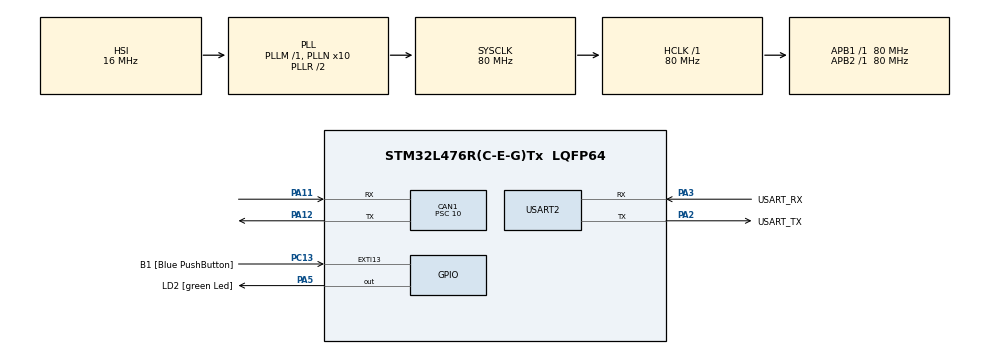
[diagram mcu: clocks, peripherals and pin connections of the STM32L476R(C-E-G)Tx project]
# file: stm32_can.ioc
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CAN1.ABOM=ENABLE
CAN1.BS1=CAN_BS1_13TQ
CAN1.BS2=CAN_BS2_2TQ
CAN1.CalculateBaudRate=500000
CAN1.CalculateTimeBit=2000
CAN1.CalculateTimeQuantum=125.0
CAN1.NART=ENABLE
CAN1.Prescaler=10
Mcu.Family=STM32L4
Mcu.Name=STM32L476R(C-E-G)Tx
Mcu.Package=LQFP64
NVIC.CAN1_RX0_IRQn=true\:0\:0\:false\:false\:true\:true\:true\:true
NVIC.CAN1_SCE_IRQn=true\:0\:0\:false\:false\:true\:true\:true\:true
NVIC.PriorityGroup=NVIC_PRIORITYGROUP_4
PA11.Mode=CAN_Activate
PA11.Signal=CAN1_RX
PA12.Mode=CAN_Activate
PA12.Signal=CAN1_TX
PA13\ (JTMS-SWDIO).GPIO_Label=TMS
PA13\ (JTMS-SWDIO).Mode=Serial_Wire
PA13\ (JTMS-SWDIO).Signal=SYS_JTMS-SWDIO
PA14\ (JTCK-SWCLK).GPIO_Label=TCK
PA14\ (JTCK-SWCLK).Mode=Serial_Wire
PA14\ (JTCK-SWCLK).Signal=SYS_JTCK-SWCLK
PA2.GPIO_Label=USART_TX
PA2.GPIO_Mode=GPIO_MODE_AF_PP
PA2.GPIO_PuPd=GPIO_NOPULL
PA2.GPIO_Speed=GPIO_SPEED_FREQ_VERY_HIGH
PA2.Mode=Asynchronous
PA2.Signal=USART2_TX
PA3.GPIO_Label=USART_RX
PA3.GPIO_Mode=GPIO_MODE_AF_PP
PA3.GPIO_PuPd=GPIO_NOPULL
PA3.GPIO_Speed=GPIO_SPEED_FREQ_VERY_HIGH
PA3.Mode=Asynchronous
PA3.Signal=USART2_RX
PA5.GPIO_Label=LD2 [green Led]
PA5.GPIO_ModeDefaultOutputPP=GPIO_MODE_OUTPUT_PP
PA5.GPIO_PuPd=GPIO_NOPULL
PA5.GPIO_Speed=GPIO_SPEED_FREQ_LOW
PA5.Signal=GPIO_Output
PB3\ (JTDO-TRACESWO).GPIO_Label=SWO
PB3\ (JTDO-TRACESWO).Signal=SYS_JTDO-SWO
PC13.GPIO_Label=B1 [Blue PushButton]
PC13.GPIO_ModeDefaultEXTI=GPIO_MODE_IT_FALLING
PC13.GPIO_PuPd=GPIO_NOPULL
PC13.Signal=GPXTI13
PC14-OSC32_IN\ (PC14).Mode=LSE-External-Oscillator
PC14-OSC32_IN\ (PC14).Signal=RCC_OSC32_IN
PC15-OSC32_OUT\ (PC15).Mode=LSE-External-Oscillator
PC15-OSC32_OUT\ (PC15).Signal=RCC_OSC32_OUT
PH0-OSC_IN\ (PH0).Signal=RCC_OSC_IN
PH1-OSC_OUT\ (PH1).Signal=RCC_OSC_OUT
ProjectManager.HeapSize=0x200
ProjectManager.StackSize=0x400
ProjectManager.TargetToolchain=STM32CubeIDE
RCC.ADCFreq_Value=64000000
RCC.AHBFreq_Value=80000000
RCC.APB1Freq_Value=80000000
RCC.APB1TimFreq_Value=80000000
RCC.APB2Freq_Value=80000000
RCC.APB2TimFreq_Value=80000000
RCC.CortexFreq_Value=80000000
RCC.HCLKFreq_Value=80000000
RCC.HSE_VALUE=8000000
RCC.HSI_VALUE=16000000
RCC.MSI_VALUE=4000000
RCC.PLLN=10
RCC.PLLSourceVirtual=RCC_PLLSOURCE_HSI
RCC.PREFETCH_ENABLE=1
RCC.SYSCLKFreq_VALUE=80000000
RCC.SYSCLKSource=RCC_SYSCLKSOURCE_PLLCLK
RCC.USBFreq_Value=64000000
RCC.VCOOutputFreq_Value=160000000
USART2.VirtualMode-Asynchronous=VM_ASYNC
board=NUCLEO-L476RG

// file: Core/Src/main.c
/* USER CODE BEGIN Header */
/**
  ******************************************************************************
  * @file           : main.c
  * @brief          : Main program body
  ******************************************************************************
  * @attention
  *
  * Copyright (c) 2026 STMicroelectronics.
  * All rights reserved.
  *
  * This software is licensed under terms that can be found in the LICENSE file
  * in the root directory of this software component.
  * If no LICENSE file comes with this software, it is provided AS-IS.
  *
  ******************************************************************************
  */
/* USER CODE END Header */
#include "main.h"
#include <stdio.h>
#include <string.h>

/* USER CODE BEGIN Includes */
extern CAN_HandleTypeDef hcan1;
extern UART_HandleTypeDef huart2;
/* USER CODE END Includes */

CAN_HandleTypeDef hcan1;

UART_HandleTypeDef huart2;

/* USER CODE BEGIN PV */
#define ID_CMD 0x100U   /* consigne de position, recue du RPi5 */
#define ID_ACK 0x200U   /* accuse "position atteinte", envoye au RPi5 */

static volatile uint8_t nouvelleCommandeRecue = 0;
static uint8_t rxDataBuffer[8];

/* Machine a etats pour l'attente de 5s NON bloquante */
typedef enum {
    ETAT_ATTENTE_COMMANDE = 0,
    ETAT_TEMPORISATION,
    ETAT_ENVOI_ACK
} EtatRobot_t;

static EtatRobot_t etat = ETAT_ATTENTE_COMMANDE;
static uint32_t horodatageDebutAttente = 0;
#define DUREE_ATTENTE_MS 5000U
/* USER CODE END PV */
/* USER CODE END PV */

void SystemClock_Config(void);
static void MX_GPIO_Init(void);
static void MX_USART2_UART_Init(void);
static void MX_CAN1_Init(void);
/* USER CODE BEGIN PFP */

static void Traiter_Trame_Commande(uint8_t *data);

static void Envoyer_Trame_Ack(void);

/* Redirection de printf vers UART2 (retarget syscalls) */
int __io_putchar(int ch)
{
    HAL_UART_Transmit(&huart2, (uint8_t *)&ch, 1, HAL_MAX_DELAY);
    return ch;
}

/* USER CODE END PFP */

/* USER CODE BEGIN 0 */

/**
 * Callback HAL appele automatiquement des qu'une trame CAN
 * matchant le filtre est deposee dans le FIFO0 par le materiel.
 */
void HAL_CAN_RxFifo0MsgPendingCallback(CAN_HandleTypeDef *hcan)
{
    CAN_RxHeaderTypeDef rxHeader;
    uint8_t data[8];

    if (HAL_CAN_GetRxMessage(hcan, CAN_RX_FIFO0, &rxHeader, data) != HAL_OK)
    {
        return;
    }

    if (rxHeader.StdId == ID_CMD)
    {
        memcpy(rxDataBuffer, data, sizeof(rxDataBuffer));
        nouvelleCommandeRecue = 1;
    }
}

static void Traiter_Trame_Commande(uint8_t *data)
{
    int16_t x_mm, y_mm, theta_mdeg;

    memcpy(&x_mm,       &data[0], 2);
    memcpy(&y_mm,       &data[2], 2);
    memcpy(&theta_mdeg, &data[4], 2);

    printf("Position recue : x=%.3f m, y=%.3f m, theta=%.2f deg\r\n",
           x_mm / 1000.0f, y_mm / 1000.0f, theta_mdeg / 100.0f);
    printf("Deplacement en cours... attente de 5s\r\n");
}

static void Envoyer_Trame_Ack(void)
{
    CAN_TxHeaderTypeDef txHeader;
    uint8_t txData[1] = {0x01};
    uint32_t txMailbox;

    txHeader.StdId = ID_ACK;
    txHeader.ExtId = 0;
    txHeader.IDE   = CAN_ID_STD;
    txHeader.RTR   = CAN_RTR_DATA;
    txHeader.DLC   = 1;
    txHeader.TransmitGlobalTime = DISABLE;

    /* On attend qu'une mailbox de transmission soit libre */
    while (HAL_CAN_GetTxMailboxesFreeLevel(&hcan1) == 0)
    {
        /* attente courte, non bloquante dans l'absolu mais bornee */
    }

    if (HAL_CAN_AddTxMessage(&hcan1, &txHeader, txData, &txMailbox) == HAL_OK)
    {
        printf("Message envoye au RPi5 : \"la position est atteinte\"\r\n");
        HAL_GPIO_WritePin(LD2_GPIO_Port, LD2_Pin, GPIO_PIN_SET);

    }
    else
    {
        printf("Erreur : echec envoi trame CAN ACK\r\n");
    }
}

static void Configurer_Filtre_CAN(void)
{
    CAN_FilterTypeDef sFilterConfig = {0};

    sFilterConfig.FilterBank = 0;
    sFilterConfig.FilterMode = CAN_FILTERMODE_IDMASK;
    sFilterConfig.FilterScale = CAN_FILTERSCALE_32BIT;
    /* On ne veut recevoir QUE l'ID 0x100 : mask = tous les bits actifs */
    sFilterConfig.FilterIdHigh = (ID_CMD << 5);
    sFilterConfig.FilterIdLow = 0x0000;
    sFilterConfig.FilterMaskIdHigh = (0x7FF << 5);
    sFilterConfig.FilterMaskIdLow = 0x0000;
    sFilterConfig.FilterFIFOAssignment = CAN_RX_FIFO0;
    sFilterConfig.FilterActivation = ENABLE;
    sFilterConfig.SlaveStartFilterBank = 14;

    if (HAL_CAN_ConfigFilter(&hcan1, &sFilterConfig) != HAL_OK)
    {
        Error_Handler();
    }
}

/* USER CODE END 0 */

int main(void)
{
    HAL_Init();
    SystemClock_Config();

    MX_GPIO_Init();
    MX_CAN1_Init();
    MX_USART2_UART_Init();

    /* USER CODE BEGIN 2 */
    Configurer_Filtre_CAN();

    if (HAL_CAN_ActivateNotification(&hcan1, CAN_IT_RX_FIFO0_MSG_PENDING) != HAL_OK)
    {
        Error_Handler();
    }

    if (HAL_CAN_Start(&hcan1) != HAL_OK)
    {
        Error_Handler();
    }

    printf("\r\n=== STM32 pret. En attente de commandes CAN (ID 0x%03X) ===\r\n", ID_CMD);
    /* USER CODE END 2 */

    while (1)
    {
        /* USER CODE BEGIN WHILE */
        switch (etat)
        {
        case ETAT_ATTENTE_COMMANDE:
            if (nouvelleCommandeRecue)
            {
                nouvelleCommandeRecue = 0;
                Traiter_Trame_Commande(rxDataBuffer);
                horodatageDebutAttente = HAL_GetTick();
                etat = ETAT_TEMPORISATION;
            }
            break;

        case ETAT_TEMPORISATION:
            HAL_GPIO_WritePin(LD2_GPIO_Port, LD2_Pin, 0);

            /* Attente non bloquante de 5s : le CPU reste libre de traiter
             * d'autres interruptions (ex: une nouvelle commande CAN, un
             * bouton, etc.) pendant ce temps. */
            if ((HAL_GetTick() - horodatageDebutAttente) >= DUREE_ATTENTE_MS)
            {
                etat = ETAT_ENVOI_ACK;
            }
            break;

        case ETAT_ENVOI_ACK:

            Envoyer_Trame_Ack();
            etat = ETAT_ATTENTE_COMMANDE;
            break;
        }
        /* USER CODE END WHILE */
    }
}

void SystemClock_Config(void)
{
  RCC_OscInitTypeDef RCC_OscInitStruct = {0};
  RCC_ClkInitTypeDef RCC_ClkInitStruct = {0};

  /** Configure the main internal regulator output voltage
  */
  if (HAL_PWREx_ControlVoltageScaling(PWR_REGULATOR_VOLTAGE_SCALE1) != HAL_OK)
  {
    Error_Handler();
  }

  /** Initializes the RCC Oscillators according to the specified parameters
  * in the RCC_OscInitTypeDef structure.
  */
  RCC_OscInitStruct.OscillatorType = RCC_OSCILLATORTYPE_HSI;
  RCC_OscInitStruct.HSIState = RCC_HSI_ON;
  RCC_OscInitStruct.HSICalibrationValue = RCC_HSICALIBRATION_DEFAULT;
  RCC_OscInitStruct.PLL.PLLState = RCC_PLL_ON;
  RCC_OscInitStruct.PLL.PLLSource = RCC_PLLSOURCE_HSI;
  RCC_OscInitStruct.PLL.PLLM = 1;
  RCC_OscInitStruct.PLL.PLLN = 10;
  RCC_OscInitStruct.PLL.PLLP = RCC_PLLP_DIV7;
  RCC_OscInitStruct.PLL.PLLQ = RCC_PLLQ_DIV2;
  RCC_OscInitStruct.PLL.PLLR = RCC_PLLR_DIV2;
  if (HAL_RCC_OscConfig(&RCC_OscInitStruct) != HAL_OK)
  {
    Error_Handler();
  }

  /** Initializes the CPU, AHB and APB buses clocks
  */
  RCC_ClkInitStruct.ClockType = RCC_CLOCKTYPE_HCLK|RCC_CLOCKTYPE_SYSCLK
                              |RCC_CLOCKTYPE_PCLK1|RCC_CLOCKTYPE_PCLK2;
  RCC_ClkInitStruct.SYSCLKSource = RCC_SYSCLKSOURCE_PLLCLK;
  RCC_ClkInitStruct.AHBCLKDivider = RCC_SYSCLK_DIV1;
  RCC_ClkInitStruct.APB1CLKDivider = RCC_HCLK_DIV1;
  RCC_ClkInitStruct.APB2CLKDivider = RCC_HCLK_DIV1;

  if (HAL_RCC_ClockConfig(&RCC_ClkInitStruct, FLASH_LATENCY_4) != HAL_OK)
  {
    Error_Handler();
  }
}

static void MX_CAN1_Init(void)
{

  hcan1.Instance = CAN1;
  hcan1.Init.Prescaler = 10;
  hcan1.Init.Mode = CAN_MODE_NORMAL;
  hcan1.Init.SyncJumpWidth = CAN_SJW_1TQ;
  hcan1.Init.TimeSeg1 = CAN_BS1_13TQ;
  hcan1.Init.TimeSeg2 = CAN_BS2_2TQ;
  hcan1.Init.TimeTriggeredMode = DISABLE;
  hcan1.Init.AutoBusOff = ENABLE;
  hcan1.Init.AutoWakeUp = DISABLE;
  hcan1.Init.AutoRetransmission = ENABLE;
  hcan1.Init.ReceiveFifoLocked = DISABLE;
  hcan1.Init.TransmitFifoPriority = DISABLE;
  if (HAL_CAN_Init(&hcan1) != HAL_OK)
  {
    Error_Handler();
  }

}

static void MX_USART2_UART_Init(void)
{

  huart2.Instance = USART2;
  huart2.Init.BaudRate = 115200;
  huart2.Init.WordLength = UART_WORDLENGTH_8B;
  huart2.Init.StopBits = UART_STOPBITS_1;
  huart2.Init.Parity = UART_PARITY_NONE;
  huart2.Init.Mode = UART_MODE_TX_RX;
  huart2.Init.HwFlowCtl = UART_HWCONTROL_NONE;
  huart2.Init.OverSampling = UART_OVERSAMPLING_16;
  huart2.Init.OneBitSampling = UART_ONE_BIT_SAMPLE_DISABLE;
  huart2.AdvancedInit.AdvFeatureInit = UART_ADVFEATURE_NO_INIT;
  if (HAL_UART_Init(&huart2) != HAL_OK)
  {
    Error_Handler();
  }

}

static void MX_GPIO_Init(void)
{
  GPIO_InitTypeDef GPIO_InitStruct = {0};

  /* GPIO Ports Clock Enable */
  __HAL_RCC_GPIOC_CLK_ENABLE();
  __HAL_RCC_GPIOH_CLK_ENABLE();
  __HAL_RCC_GPIOA_CLK_ENABLE();
  __HAL_RCC_GPIOB_CLK_ENABLE();

  /*Configure GPIO pin Output Level */
  HAL_GPIO_WritePin(LD2_GPIO_Port, LD2_Pin, GPIO_PIN_RESET);

  /*Configure GPIO pin : B1_Pin */
  GPIO_InitStruct.Pin = B1_Pin;
  GPIO_InitStruct.Mode = GPIO_MODE_IT_FALLING;
  GPIO_InitStruct.Pull = GPIO_NOPULL;
  HAL_GPIO_Init(B1_GPIO_Port, &GPIO_InitStruct);

  /*Configure GPIO pin : LD2_Pin */
  GPIO_InitStruct.Pin = LD2_Pin;
  GPIO_InitStruct.Mode = GPIO_MODE_OUTPUT_PP;
  GPIO_InitStruct.Pull = GPIO_NOPULL;
  GPIO_InitStruct.Speed = GPIO_SPEED_FREQ_LOW;
  HAL_GPIO_Init(LD2_GPIO_Port, &GPIO_InitStruct);

}

void Error_Handler(void)
{
  __disable_irq();
  while (1)
  {
  }
}
